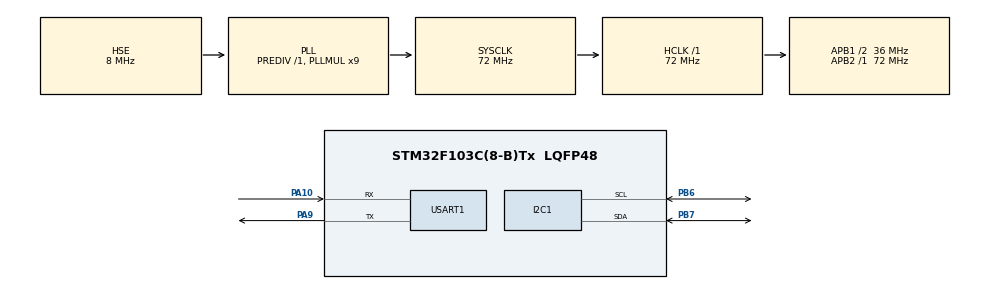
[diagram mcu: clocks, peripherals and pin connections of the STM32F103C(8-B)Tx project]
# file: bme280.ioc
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Mcu.Family=STM32F1
Mcu.Name=STM32F103C(8-B)Tx
Mcu.Package=LQFP48
NVIC.PriorityGroup=NVIC_PRIORITYGROUP_4
PA10.Mode=Asynchronous
PA10.Signal=USART1_RX
PA13.Mode=Serial_Wire
PA13.Signal=SYS_JTMS-SWDIO
PA14.Mode=Serial_Wire
PA14.Signal=SYS_JTCK-SWCLK
PA9.Mode=Asynchronous
PA9.Signal=USART1_TX
PB6.Mode=I2C
PB6.Signal=I2C1_SCL
PB7.Mode=I2C
PB7.Signal=I2C1_SDA
PD0-OSC_IN.Mode=HSE-External-Oscillator
PD0-OSC_IN.Signal=RCC_OSC_IN
PD1-OSC_OUT.Mode=HSE-External-Oscillator
PD1-OSC_OUT.Signal=RCC_OSC_OUT
ProjectManager.HeapSize=0x200
ProjectManager.StackSize=0x400
ProjectManager.TargetToolchain=MDK-ARM V5.32
RCC.AHBFreq_Value=72000000
RCC.APB1CLKDivider=RCC_HCLK_DIV2
RCC.APB1Freq_Value=36000000
RCC.APB1TimFreq_Value=72000000
RCC.APB2Freq_Value=72000000
RCC.APB2TimFreq_Value=72000000
RCC.HCLKFreq_Value=72000000
RCC.PLLMUL=RCC_PLL_MUL9
RCC.PLLSourceVirtual=RCC_PLLSOURCE_HSE
RCC.SYSCLKFreq_VALUE=72000000
RCC.SYSCLKSource=RCC_SYSCLKSOURCE_PLLCLK
RCC.USBFreq_Value=72000000
USART1.VirtualMode=VM_ASYNC
board=custom

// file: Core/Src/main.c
/* USER CODE BEGIN Header */
/**
  ******************************************************************************
  * @file           : main.c
  * @brief          : Main program body
  ******************************************************************************
  * @attention
  *
  * Copyright (c) 2026 STMicroelectronics.
  * All rights reserved.
  *
  * This software is licensed under terms that can be found in the LICENSE file
  * in the root directory of this software component.
  * If no LICENSE file comes with this software, it is provided AS-IS.
  *
  ******************************************************************************
  */
/* USER CODE END Header */
#include "main.h"
#include "bme280.h"

/* USER CODE BEGIN PD */
#ifndef BME280_POWERMODE_NORMAL
#define BME280_POWERMODE_NORMAL  BME280_NORMAL_MODE   /* name differs between driver versions */
#endif

#define BME_I2C_TIMEOUT_MS  100U

/* dbg_error values */
#define ERR_NONE        0
#define ERR_I2C_READ    1
#define ERR_WRONG_ID    2
#define ERR_INIT        3
#define ERR_SETTINGS    4
#define ERR_SETMODE     5
/* USER CODE END PD */

I2C_HandleTypeDef hi2c1;

UART_HandleTypeDef huart1;

/* USER CODE BEGIN PV */
extern I2C_HandleTypeDef hi2c1;      /* generated by CubeMX */

static struct bme280_dev  dev;
static struct bme280_data comp_data;
static uint8_t            dev_addr = BME280_I2C_ADDR_PRIM;   /* 0x76; use BME280_I2C_ADDR_SEC (0x77) if SDO = 3V3 */
static struct bme280_settings settings;
/* Globals for the Keil Watch window (volatile so the compiler never optimizes them away) */
volatile float    temperature;       /* degC  */
volatile float    pressure;          /* hPa   */
volatile float    humidity;          /* %RH   */
volatile uint8_t  chip_id;           /* expect 0x60 */
volatile int8_t   rslt;              /* 0 = OK, negative = Bosch error code */
volatile uint32_t sample_count;      /* increments every good reading */
volatile uint8_t  dbg_error;
/* USER CODE END PV */

void SystemClock_Config(void);
static void MX_GPIO_Init(void);
static void MX_I2C1_Init(void);
static void MX_USART1_UART_Init(void);
/* USER CODE BEGIN PFP */
static int8_t user_i2c_read (uint8_t reg_addr, uint8_t *reg_data, uint32_t len, void *intf_ptr);
static int8_t user_i2c_write(uint8_t reg_addr, const uint8_t *reg_data, uint32_t len, void *intf_ptr);
static void   user_delay_us (uint32_t period, void *intf_ptr);
static void   app_error     (uint8_t err, int8_t code);

/* USER CODE END PFP */

int main(void)
{

  /* MCU Configuration--------------------------------------------------------*/

  /* Reset of all peripherals, Initializes the Flash interface and the Systick. */
  HAL_Init();

  /* Configure the system clock */
  SystemClock_Config();

  /* Initialize all configured peripherals */
  MX_GPIO_Init();
  MX_I2C1_Init();
  MX_USART1_UART_Init();
  /* USER CODE BEGIN 2 */
	dev.intf     = BME280_I2C_INTF;
    dev.intf_ptr = &dev_addr;
    dev.read     = user_i2c_read;
    dev.write    = user_i2c_write;
    dev.delay_us = user_delay_us;

    /* Read chip ID (register 0xD0): 0x60 = BME280, 0x58 = BMP280 */
    rslt = user_i2c_read(BME280_REG_CHIP_ID, (uint8_t *)&chip_id, 1, &dev_addr);
    if (rslt != BME280_OK)         { app_error(ERR_I2C_READ, rslt); }
    if (chip_id != BME280_CHIP_ID) { app_error(ERR_WRONG_ID, 0);    }

    /* Reset + load trimming (calibration) data */
    rslt = bme280_init(&dev);
    if (rslt != BME280_OK) { app_error(ERR_INIT, rslt); }

    /* Oversampling, filter, standby time */
    settings.osr_h        = BME280_OVERSAMPLING_1X;
settings.osr_p        = BME280_OVERSAMPLING_1X;
settings.osr_t        = BME280_OVERSAMPLING_1X;
settings.filter       = BME280_FILTER_COEFF_OFF;
settings.standby_time = BME280_STANDBY_TIME_1000_MS;

rslt = bme280_set_sensor_settings(BME280_SEL_OSR_PRESS | BME280_SEL_OSR_TEMP |
                                  BME280_SEL_OSR_HUM   | BME280_SEL_FILTER   |
                                  BME280_SEL_STANDBY, &settings, &dev);
    if (rslt != BME280_OK) { app_error(ERR_SETTINGS, rslt); }

    /* Normal mode: sensor free-runs (measure -> standby -> measure ...) */
    rslt = bme280_set_sensor_mode(BME280_POWERMODE_NORMAL, &dev);
    if (rslt != BME280_OK) { app_error(ERR_SETMODE, rslt); }
  /* USER CODE END 2 */

  /* Infinite loop */
  while (1)
  {

    /* USER CODE BEGIN 3 */
		rslt = bme280_get_sensor_data(BME280_ALL, &comp_data, &dev);   /* raw read + Bosch compensation */

    if (rslt == BME280_OK)
    {
        temperature = (float)comp_data.temperature;          /* degC */
        pressure    = (float)comp_data.pressure / 100.0f;    /* Pa -> hPa */
        humidity    = (float)comp_data.humidity;             /* %RH */
        sample_count++;
    }

    HAL_Delay(1000);
  }
  /* USER CODE END 3 */
}

void SystemClock_Config(void)
{
  RCC_OscInitTypeDef RCC_OscInitStruct = {0};
  RCC_ClkInitTypeDef RCC_ClkInitStruct = {0};

  /** Initializes the RCC Oscillators according to the specified parameters
  * in the RCC_OscInitTypeDef structure.
  */
  RCC_OscInitStruct.OscillatorType = RCC_OSCILLATORTYPE_HSE;
  RCC_OscInitStruct.HSEState = RCC_HSE_ON;
  RCC_OscInitStruct.HSEPredivValue = RCC_HSE_PREDIV_DIV1;
  RCC_OscInitStruct.HSIState = RCC_HSI_ON;
  RCC_OscInitStruct.PLL.PLLState = RCC_PLL_ON;
  RCC_OscInitStruct.PLL.PLLSource = RCC_PLLSOURCE_HSE;
  RCC_OscInitStruct.PLL.PLLMUL = RCC_PLL_MUL9;
  if (HAL_RCC_OscConfig(&RCC_OscInitStruct) != HAL_OK)
  {
    Error_Handler();
  }

  /** Initializes the CPU, AHB and APB buses clocks
  */
  RCC_ClkInitStruct.ClockType = RCC_CLOCKTYPE_HCLK|RCC_CLOCKTYPE_SYSCLK
                              |RCC_CLOCKTYPE_PCLK1|RCC_CLOCKTYPE_PCLK2;
  RCC_ClkInitStruct.SYSCLKSource = RCC_SYSCLKSOURCE_PLLCLK;
  RCC_ClkInitStruct.AHBCLKDivider = RCC_SYSCLK_DIV1;
  RCC_ClkInitStruct.APB1CLKDivider = RCC_HCLK_DIV2;
  RCC_ClkInitStruct.APB2CLKDivider = RCC_HCLK_DIV1;

  if (HAL_RCC_ClockConfig(&RCC_ClkInitStruct, FLASH_LATENCY_2) != HAL_OK)
  {
    Error_Handler();
  }
}

static void MX_I2C1_Init(void)
{

  hi2c1.Instance = I2C1;
  hi2c1.Init.ClockSpeed = 100000;
  hi2c1.Init.DutyCycle = I2C_DUTYCYCLE_2;
  hi2c1.Init.OwnAddress1 = 0;
  hi2c1.Init.AddressingMode = I2C_ADDRESSINGMODE_7BIT;
  hi2c1.Init.DualAddressMode = I2C_DUALADDRESS_DISABLE;
  hi2c1.Init.OwnAddress2 = 0;
  hi2c1.Init.GeneralCallMode = I2C_GENERALCALL_DISABLE;
  hi2c1.Init.NoStretchMode = I2C_NOSTRETCH_DISABLE;
  if (HAL_I2C_Init(&hi2c1) != HAL_OK)
  {
    Error_Handler();
  }

}

static void MX_USART1_UART_Init(void)
{

  huart1.Instance = USART1;
  huart1.Init.BaudRate = 115200;
  huart1.Init.WordLength = UART_WORDLENGTH_8B;
  huart1.Init.StopBits = UART_STOPBITS_1;
  huart1.Init.Parity = UART_PARITY_NONE;
  huart1.Init.Mode = UART_MODE_TX_RX;
  huart1.Init.HwFlowCtl = UART_HWCONTROL_NONE;
  huart1.Init.OverSampling = UART_OVERSAMPLING_16;
  if (HAL_UART_Init(&huart1) != HAL_OK)
  {
    Error_Handler();
  }

}

static void MX_GPIO_Init(void)
{

  /* GPIO Ports Clock Enable */
  __HAL_RCC_GPIOD_CLK_ENABLE();
  __HAL_RCC_GPIOA_CLK_ENABLE();
  __HAL_RCC_GPIOB_CLK_ENABLE();

}

/* USER CODE BEGIN 4 */
static int8_t user_i2c_read(uint8_t reg_addr, uint8_t *reg_data, uint32_t len, void *intf_ptr)
{
    uint8_t addr = *(uint8_t *)intf_ptr;

    if (HAL_I2C_Mem_Read(&hi2c1, (uint16_t)(addr << 1), reg_addr,
                         I2C_MEMADD_SIZE_8BIT, reg_data, (uint16_t)len,
                         BME_I2C_TIMEOUT_MS) == HAL_OK)
    {
        return BME280_OK;
    }
    return BME280_E_COMM_FAIL;
}

/* write_register() -> STM32 I2C */
static int8_t user_i2c_write(uint8_t reg_addr, const uint8_t *reg_data, uint32_t len, void *intf_ptr)
{
    uint8_t addr = *(uint8_t *)intf_ptr;

    if (HAL_I2C_Mem_Write(&hi2c1, (uint16_t)(addr << 1), reg_addr,
                          I2C_MEMADD_SIZE_8BIT, (uint8_t *)reg_data, (uint16_t)len,
                          BME_I2C_TIMEOUT_MS) == HAL_OK)
    {
        return BME280_OK;
    }
    return BME280_E_COMM_FAIL;
}

/* delay_function(): HAL is in ms, driver asks for us -> round up */
static void user_delay_us(uint32_t period, void *intf_ptr)
{
    (void)intf_ptr;
    HAL_Delay((period / 1000U) + 1U);
}

/* "Error: halt or report": store the reason in globals, blink PC13 forever */
static void app_error(uint8_t err, int8_t code)
{
    dbg_error = err;      /* look at this in the Watch window */
    rslt      = code;
    while (1)
    {
        HAL_GPIO_TogglePin(GPIOC, GPIO_PIN_13);   /* set PC13 as GPIO_Output in CubeMX */
        HAL_Delay(200);
    }
}

/* USER CODE END 4 */

void Error_Handler(void)
{
  __disable_irq();
  while (1)
  {
  }
}
